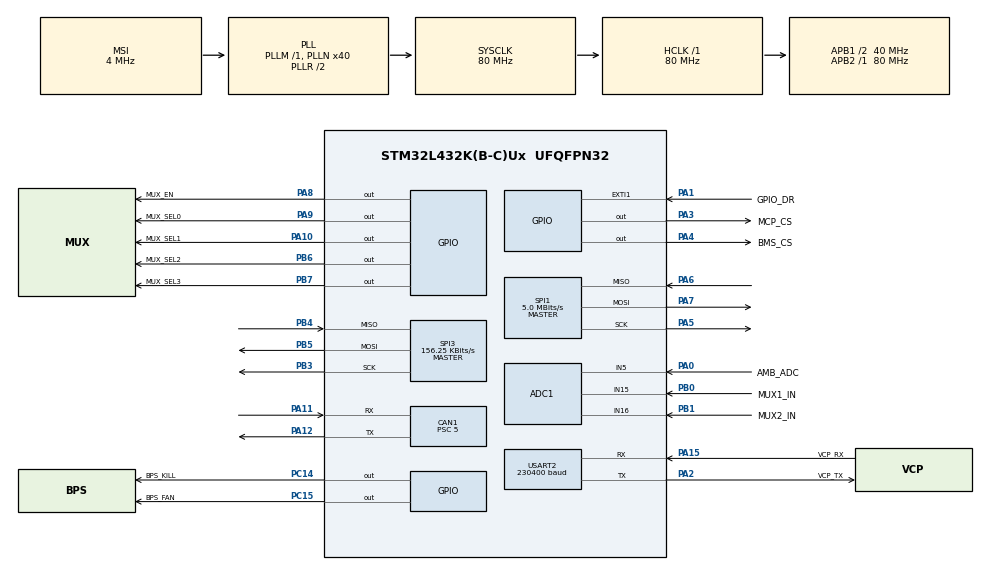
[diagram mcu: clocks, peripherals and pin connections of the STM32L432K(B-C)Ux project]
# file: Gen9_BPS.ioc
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ADC1.AutoInjectedConv=DISABLE
ADC1.Channel-0\#ChannelRegularConversion=ADC_CHANNEL_5
ADC1.InjectedDiscontinuousConvMode=DISABLE
ADC1.NbrOfConversionFlag=1
ADC1.OffsetNumber-0\#ChannelRegularConversion=ADC_OFFSET_NONE
ADC1.Rank-0\#ChannelRegularConversion=1
ADC1.SamplingTime-0\#ChannelRegularConversion=ADC_SAMPLETIME_2CYCLES_5
ADC1.SingleDiff-0\#ChannelRegularConversion=ADC_SINGLE_ENDED
ADC1.master=1
CAN1.ABOM=ENABLE
CAN1.AWUM=ENABLE
CAN1.BS1=CAN_BS1_12TQ
CAN1.BS2=CAN_BS2_3TQ
CAN1.CalculateTimeBit=2000
CAN1.CalculateTimeQuantum=125.0
CAN1.Prescaler=5
CAN1.SJW=CAN_SJW_3TQ
CRC.CRCLength=CRC_POLYLENGTH_16B
CRC.DefaultInitValueUse=DEFAULT_INIT_VALUE_DISABLE
CRC.DefaultPolynomialUse=DEFAULT_POLYNOMIAL_DISABLE
CRC.GeneratingPolynomial=X15+X14+X10+X8+X7+X4+X3+X0
CRC.InitValue=16
Dma.ADC1.6.Direction=DMA_PERIPH_TO_MEMORY
Dma.ADC1.6.Instance=DMA1_Channel1
Dma.ADC1.6.MemDataAlignment=DMA_MDATAALIGN_HALFWORD
Dma.ADC1.6.MemInc=DMA_MINC_ENABLE
Dma.ADC1.6.Mode=DMA_NORMAL
Dma.ADC1.6.PeriphDataAlignment=DMA_PDATAALIGN_HALFWORD
Dma.ADC1.6.PeriphInc=DMA_PINC_DISABLE
Dma.ADC1.6.Priority=DMA_PRIORITY_LOW
Dma.Request0=USART2_RX
Dma.Request1=USART2_TX
Dma.Request2=SPI3_TX
Dma.Request3=SPI3_RX
Dma.Request4=SPI1_RX
Dma.Request5=SPI1_TX
Dma.Request6=ADC1
Dma.SPI1_RX.4.Direction=DMA_PERIPH_TO_MEMORY
Dma.SPI1_RX.4.Instance=DMA2_Channel3
Dma.SPI1_RX.4.MemDataAlignment=DMA_MDATAALIGN_BYTE
Dma.SPI1_RX.4.MemInc=DMA_MINC_ENABLE
Dma.SPI1_RX.4.Mode=DMA_NORMAL
Dma.SPI1_RX.4.PeriphDataAlignment=DMA_PDATAALIGN_BYTE
Dma.SPI1_RX.4.PeriphInc=DMA_PINC_DISABLE
Dma.SPI1_RX.4.Priority=DMA_PRIORITY_HIGH
Dma.SPI1_TX.5.Direction=DMA_MEMORY_TO_PERIPH
Dma.SPI1_TX.5.Instance=DMA2_Channel4
Dma.SPI1_TX.5.MemDataAlignment=DMA_MDATAALIGN_BYTE
Dma.SPI1_TX.5.MemInc=DMA_MINC_ENABLE
Dma.SPI1_TX.5.Mode=DMA_NORMAL
Dma.SPI1_TX.5.PeriphDataAlignment=DMA_PDATAALIGN_BYTE
Dma.SPI1_TX.5.PeriphInc=DMA_PINC_DISABLE
Dma.SPI1_TX.5.Priority=DMA_PRIORITY_MEDIUM
Dma.SPI3_RX.3.Direction=DMA_PERIPH_TO_MEMORY
Dma.SPI3_RX.3.Instance=DMA2_Channel1
Dma.SPI3_RX.3.MemDataAlignment=DMA_MDATAALIGN_BYTE
Dma.SPI3_RX.3.MemInc=DMA_MINC_ENABLE
Dma.SPI3_RX.3.Mode=DMA_NORMAL
Dma.SPI3_RX.3.PeriphDataAlignment=DMA_PDATAALIGN_BYTE
Dma.SPI3_RX.3.PeriphInc=DMA_PINC_DISABLE
Dma.SPI3_RX.3.Priority=DMA_PRIORITY_VERY_HIGH
Dma.SPI3_TX.2.Direction=DMA_MEMORY_TO_PERIPH
Dma.SPI3_TX.2.Instance=DMA2_Channel2
Dma.SPI3_TX.2.MemDataAlignment=DMA_MDATAALIGN_BYTE
Dma.SPI3_TX.2.MemInc=DMA_MINC_ENABLE
Dma.SPI3_TX.2.Mode=DMA_NORMAL
Dma.SPI3_TX.2.PeriphDataAlignment=DMA_PDATAALIGN_BYTE
Dma.SPI3_TX.2.PeriphInc=DMA_PINC_DISABLE
Dma.SPI3_TX.2.Priority=DMA_PRIORITY_HIGH
Dma.USART2_RX.0.Direction=DMA_PERIPH_TO_MEMORY
Dma.USART2_RX.0.Instance=DMA1_Channel6
Dma.USART2_RX.0.MemDataAlignment=DMA_MDATAALIGN_BYTE
Dma.USART2_RX.0.MemInc=DMA_MINC_ENABLE
Dma.USART2_RX.0.Mode=DMA_CIRCULAR
Dma.USART2_RX.0.PeriphDataAlignment=DMA_PDATAALIGN_BYTE
Dma.USART2_RX.0.PeriphInc=DMA_PINC_DISABLE
Dma.USART2_RX.0.Priority=DMA_PRIORITY_HIGH
Dma.USART2_TX.1.Direction=DMA_MEMORY_TO_PERIPH
Dma.USART2_TX.1.Instance=DMA1_Channel7
Dma.USART2_TX.1.MemDataAlignment=DMA_MDATAALIGN_BYTE
Dma.USART2_TX.1.MemInc=DMA_MINC_ENABLE
Dma.USART2_TX.1.Mode=DMA_NORMAL
Dma.USART2_TX.1.PeriphDataAlignment=DMA_PDATAALIGN_BYTE
Dma.USART2_TX.1.PeriphInc=DMA_PINC_DISABLE
Dma.USART2_TX.1.Priority=DMA_PRIORITY_MEDIUM
FREERTOS.BinarySemaphores01=mcp3909_DR;mcp3909_RX;bmsTRxComplete
FREERTOS.INCLUDE_eTaskGetState=1
FREERTOS.INCLUDE_vTaskDelayUntil=1
FREERTOS.INCLUDE_xQueueGetMutexHolder=1
FREERTOS.INCLUDE_xSemaphoreGetMutexHolder=1
FREERTOS.INCLUDE_xTaskGetCurrentTaskHandle=1
FREERTOS.Mutexes01=swMtx
FREERTOS.Queues01=mainCanTxQ,32,Can_frame_t,NULL;mainCanRxQ,16,Can_frame_t,NULL
FREERTOS.Tasks01=Application,0,512,doApplication,Default;Can_Processor,-1,512,doProcessCan,Default;RT,2,512,doRT,Default;SMT,1,512,doSMT,Default;TMT,1,512,doTMT,Default
FREERTOS.Timers01=WWDGTmr,TmrKickDog,osTimerPeriodic,Default;HBTmr,TmrSendHB,osTimerPeriodic,Default
FREERTOS.configCHECK_FOR_STACK_OVERFLOW=2
FREERTOS.configENABLE_BACKWARD_COMPATIBILITY=0
FREERTOS.configMAX_PRIORITIES=6
FREERTOS.configMINIMAL_STACK_SIZE=512
FREERTOS.configTIMER_QUEUE_LENGTH=8
FREERTOS.configTIMER_TASK_PRIORITY=5
FREERTOS.configTIMER_TASK_STACK_DEPTH=512
FREERTOS.configTOTAL_HEAP_SIZE=32786
FREERTOS.configUSE_MALLOC_FAILED_HOOK=1
FREERTOS.configUSE_PORT_OPTIMISED_TASK_SELECTION=1
FREERTOS.configUSE_TASK_NOTIFICATIONS=0
FREERTOS.configUSE_TIMERS=1
FREERTOS.configUSE_TRACE_FACILITY=0
Mcu.Family=STM32L4
Mcu.Name=STM32L432K(B-C)Ux
Mcu.Package=UFQFPN32
NVIC.ADC1_IRQn=true\:5\:0\:false\:false\:true\:true
NVIC.CAN1_RX0_IRQn=true\:5\:0\:true\:false\:true\:true
NVIC.CAN1_RX1_IRQn=true\:5\:0\:true\:false\:true\:true
NVIC.CAN1_SCE_IRQn=true\:5\:0\:true\:false\:true\:true
NVIC.CAN1_TX_IRQn=true\:5\:0\:true\:false\:true\:true
NVIC.DMA1_Channel1_IRQn=true\:5\:0\:false\:false\:true\:true
NVIC.DMA1_Channel6_IRQn=true\:6\:0\:true\:false\:true\:true
NVIC.DMA1_Channel7_IRQn=true\:6\:0\:true\:false\:true\:true
NVIC.DMA2_Channel1_IRQn=true\:5\:0\:false\:false\:true\:true
NVIC.DMA2_Channel2_IRQn=true\:5\:0\:false\:false\:true\:true
NVIC.DMA2_Channel3_IRQn=true\:6\:0\:true\:false\:true\:true
NVIC.DMA2_Channel4_IRQn=true\:6\:0\:true\:false\:true\:true
NVIC.PriorityGroup=NVIC_PRIORITYGROUP_4
NVIC.SPI1_IRQn=true\:6\:0\:true\:false\:true\:true
NVIC.SPI3_IRQn=true\:5\:0\:true\:false\:true\:true
NVIC.TIM6_DAC_IRQn=true\:0\:0\:false\:false\:true\:false
NVIC.TimeBase=TIM6_DAC_IRQn
NVIC.TimeBaseIP=TIM6
NVIC.USART2_IRQn=true\:5\:0\:false\:false\:true\:true
PA0-CK_IN.GPIO_Label=AMB_ADC
PA0-CK_IN.Signal=ADCx_IN5
PA1.GPIO_Label=GPIO_DR
PA1.GPIO_ModeDefaultEXTI=GPIO_MODE_IT_FALLING
PA1.Signal=GPXTI1
PA10.GPIO_Label=MUX_SEL1
PA10.Signal=GPIO_Output
PA11.Mode=Master
PA11.Signal=CAN1_RX
PA12.Mode=Master
PA12.Signal=CAN1_TX
PA13\ (JTMS-SWDIO).Mode=Serial_Wire
PA13\ (JTMS-SWDIO).Signal=SYS_JTMS-SWDIO
PA14\ (JTCK-SWCLK).Mode=Serial_Wire
PA14\ (JTCK-SWCLK).Signal=SYS_JTCK-SWCLK
PA15\ (JTDI).GPIO_Label=VCP_RX
PA15\ (JTDI).Mode=Asynchronous
PA15\ (JTDI).Signal=USART2_RX
PA2.GPIO_Label=VCP_TX
PA2.Mode=Asynchronous
PA2.Signal=USART2_TX
PA3.GPIO_Label=MCP_CS
PA3.GPIO_ModeDefaultOutputPP=GPIO_MODE_OUTPUT_PP
PA3.GPIO_PuPd=GPIO_PULLUP
PA3.GPIO_Speed=GPIO_SPEED_FREQ_VERY_HIGH
PA3.PinState=GPIO_PIN_SET
PA3.Signal=GPIO_Output
PA4.GPIO_Label=BMS_CS
PA4.GPIO_ModeDefaultOutputPP=GPIO_MODE_OUTPUT_PP
PA4.GPIO_PuPd=GPIO_PULLUP
PA4.GPIO_Speed=GPIO_SPEED_FREQ_VERY_HIGH
PA4.PinState=GPIO_PIN_SET
PA4.Signal=GPIO_Output
PA5.GPIO_PuPd=GPIO_NOPULL
PA5.Mode=Full_Duplex_Master
PA5.Signal=SPI1_SCK
PA6.GPIO_PuPd=GPIO_PULLUP
PA6.Mode=Full_Duplex_Master
PA6.Signal=SPI1_MISO
PA7.GPIO_PuPd=GPIO_PULLUP
PA7.Mode=Full_Duplex_Master
PA7.Signal=SPI1_MOSI
PA8.GPIO_Label=MUX_EN
PA8.GPIO_ModeDefaultOutputPP=GPIO_MODE_OUTPUT_OD
PA8.GPIO_PuPd=GPIO_PULLUP
PA8.GPIO_Speed=GPIO_SPEED_FREQ_LOW
PA8.PinState=GPIO_PIN_SET
PA8.Signal=GPIO_Output
PA9.GPIO_Label=MUX_SEL0
PA9.Signal=GPIO_Output
PB0.GPIO_Label=MUX1_IN
PB0.Signal=ADCx_IN15
PB1.GPIO_Label=MUX2_IN
PB1.Signal=ADCx_IN16
PB3\ (JTDO-TRACESWO).Mode=Full_Duplex_Master
PB3\ (JTDO-TRACESWO).Signal=SPI3_SCK
PB4\ (NJTRST).Mode=Full_Duplex_Master
PB4\ (NJTRST).Signal=SPI3_MISO
PB5.Mode=Full_Duplex_Master
PB5.Signal=SPI3_MOSI
PB6.GPIO_Label=MUX_SEL2
PB6.Signal=GPIO_Output
PB7.GPIO_Label=MUX_SEL3
PB7.Signal=GPIO_Output
PC14-OSC32_IN\ (PC14).GPIO_Label=BPS_KILL
PC14-OSC32_IN\ (PC14).Signal=GPIO_Output
PC15-OSC32_OUT\ (PC15).GPIO_Label=BPS_FAN
PC15-OSC32_OUT\ (PC15).Signal=GPIO_Output
ProjectManager.HeapSize=0x200
ProjectManager.StackSize=0x400
ProjectManager.TargetToolchain=SW4STM32
RCC.ADCCLockSelection=RCC_ADCCLKSOURCE_SYSCLK
RCC.ADCFreq_Value=80000000
RCC.AHBFreq_Value=80000000
RCC.APB1CLKDivider=RCC_HCLK_DIV2
RCC.APB1Freq_Value=40000000
RCC.APB1TimFreq_Value=80000000
RCC.APB2Freq_Value=80000000
RCC.APB2TimFreq_Value=80000000
RCC.ClockTypeHCLK=RCC_CLOCKTYPE_HCLK
RCC.ClockTypePCLK1=RCC_CLOCKTYPE_PCLK1
RCC.ClockTypePCLK2=RCC_CLOCKTYPE_PCLK2
RCC.ClockTypeSysClk=RCC_CLOCKTYPE_SYSCLK
RCC.CortexFreq_Value=80000000
RCC.EnableCSSLSE=false
RCC.EnbaleCSS=false
RCC.HCLKFreq_Value=80000000
RCC.HSE_VALUE=8000000
RCC.HSI16_VALUE=16000000
RCC.HSI48_VALUE=48000000
RCC.HSI_VALUE=16000000
RCC.LSE_VALUE=32768
RCC.MSI_VALUE=4000000
RCC.PLLMUL=RCC_PLLMUL_4
RCC.PLLN=40
RCC.PLLSAI1N=40
RCC.PREFETCH_ENABLE=1
RCC.SYSCLKFreq_VALUE=80000000
RCC.SYSCLKSource=RCC_SYSCLKSOURCE_PLLCLK
RCC.USBFreq_Value=80000000
RCC.VCOOutputFreq_Value=160000000
SH.ADCx_IN15.0=ADC1_IN15,IN15-Single-Ended
SH.ADCx_IN16.0=ADC1_IN16,IN16-Single-Ended
SH.ADCx_IN5.0=ADC1_IN5,IN5-Single-Ended
SPI1.BaudRatePrescaler=SPI_BAUDRATEPRESCALER_16
SPI1.CLKPolarity=SPI_POLARITY_LOW
SPI1.CRCLength=SPI_CRC_LENGTH_DATASIZE
SPI1.CRCPolynomial=7
SPI1.CalculateBaudRate=5.0 MBits/s
SPI1.DataSize=SPI_DATASIZE_8BIT
SPI1.Direction=SPI_DIRECTION_2LINES
SPI1.Mode=SPI_MODE_MASTER
SPI1.NSSPMode=SPI_NSS_PULSE_DISABLE
SPI1.VirtualType=VM_MASTER
SPI3.BaudRatePrescaler=SPI_BAUDRATEPRESCALER_256
SPI3.CLKPhase=SPI_PHASE_2EDGE
SPI3.CLKPolarity=SPI_POLARITY_HIGH
SPI3.CRCLength=SPI_CRC_LENGTH_DATASIZE
SPI3.CRCPolynomial=7
SPI3.CalculateBaudRate=156.25 KBits/s
SPI3.DataSize=SPI_DATASIZE_8BIT
SPI3.Direction=SPI_DIRECTION_2LINES
SPI3.Mode=SPI_MODE_MASTER
SPI3.NSSPMode=SPI_NSS_PULSE_DISABLE
SPI3.VirtualType=VM_MASTER
USART2.BaudRate=230400
USART2.HwFlowCtl-Asynchronous=UART_HWCONTROL_NONE
USART2.VirtualMode-Asynchronous=VM_ASYNC
USART2.WordLength=UART_WORDLENGTH_8B
VP_CRC_VS_CRC.Mode=CRC_Activate
VP_FREERTOS_VS_ENABLE.Mode=Enabled
VP_SYS_VS_tim6.Mode=TIM6
VP_WWDG_VS_WWDG.Mode=WWDG_Activate
WWDG.Counter=127
WWDG.Prescaler=WWDG_PRESCALER_8
WWDG.Window=127
board=NUCLEO-L432KC

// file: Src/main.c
/**
  ******************************************************************************
  * File Name          : main.c
  * Description        : Main program body
  ******************************************************************************
  *
  * Copyright (c) 2017 STMicroelectronics International N.V.
  * All rights reserved.
  *
  * Redistribution and use in source and binary forms, with or without
  * modification, are permitted, provided that the following conditions are met:
  *
  * 1. Redistribution of source code must retain the above copyright notice,
  *    this list of conditions and the following disclaimer.
  * 2. Redistributions in binary form must reproduce the above copyright notice,
  *    this list of conditions and the following disclaimer in the documentation
  *    and/or other materials provided with the distribution.
  * 3. Neither the name of STMicroelectronics nor the names of other
  *    contributors to this software may be used to endorse or promote products
  *    derived from this software without specific written permission.
  * 4. This software, including modifications and/or derivative works of this
  *    software, must execute solely and exclusively on microcontroller or
  *    microprocessor devices manufactured by or for STMicroelectronics.
  * 5. Redistribution and use of this software other than as permitted under
  *    this license is void and will automatically terminate your rights under
  *    this license.
  *
  * THIS SOFTWARE IS PROVIDED BY STMICROELECTRONICS AND CONTRIBUTORS "AS IS"
  * AND ANY EXPRESS, IMPLIED OR STATUTORY WARRANTIES, INCLUDING, BUT NOT
  * LIMITED TO, THE IMPLIED WARRANTIES OF MERCHANTABILITY, FITNESS FOR A
  * PARTICULAR PURPOSE AND NON-INFRINGEMENT OF THIRD PARTY INTELLECTUAL PROPERTY
  * RIGHTS ARE DISCLAIMED TO THE FULLEST EXTENT PERMITTED BY LAW. IN NO EVENT
  * SHALL STMICROELECTRONICS OR CONTRIBUTORS BE LIABLE FOR ANY DIRECT, INDIRECT,
  * INCIDENTAL, SPECIAL, EXEMPLARY, OR CONSEQUENTIAL DAMAGES (INCLUDING, BUT NOT
  * LIMITED TO, PROCUREMENT OF SUBSTITUTE GOODS OR SERVICES; LOSS OF USE, DATA,
  * OR PROFITS; OR BUSINESS INTERRUPTION) HOWEVER CAUSED AND ON ANY THEORY OF
  * LIABILITY, WHETHER IN CONTRACT, STRICT LIABILITY, OR TORT (INCLUDING
  * NEGLIGENCE OR OTHERWISE) ARISING IN ANY WAY OUT OF THE USE OF THIS SOFTWARE,
  * EVEN IF ADVISED OF THE POSSIBILITY OF SUCH DAMAGE.
  *
  ******************************************************************************
  */
#include "main.h"
#include "stm32l4xx_hal.h"
#include "cmsis_os.h"

/* USER CODE BEGIN Includes */
#include "can.h"
#include "serial.h"
#include "nodeMiscHelpers.h"
#include "nodeConf.h"
#include "../../CAN_ID.h"

// RTOS Task functions + helpers
#include "Can_Processor.h"

//LTC6804
#include "LTC68041.h"

//MCP3909
#include "mcp3909.h"

/* USER CODE END Includes */

ADC_HandleTypeDef hadc1;

CAN_HandleTypeDef hcan1;

CRC_HandleTypeDef hcrc;

SPI_HandleTypeDef hspi1;
SPI_HandleTypeDef hspi3;
DMA_HandleTypeDef hdma_spi1_rx;
DMA_HandleTypeDef hdma_spi1_tx;
DMA_HandleTypeDef hdma_spi3_tx;
DMA_HandleTypeDef hdma_spi3_rx;

UART_HandleTypeDef huart2;
DMA_HandleTypeDef hdma_usart2_rx;
DMA_HandleTypeDef hdma_usart2_tx;

WWDG_HandleTypeDef hwwdg;

osThreadId ApplicationHandle;
osThreadId Can_ProcessorHandle;
osThreadId RTHandle;
osThreadId SMTHandle;
osThreadId TMTHandle;
osMessageQId mainCanTxQHandle;
osMessageQId mainCanRxQHandle;
osTimerId WWDGTmrHandle;
osTimerId HBTmrHandle;
osMutexId swMtxHandle;
osSemaphoreId mcp3909_DRHandle;
osSemaphoreId mcp3909_RXHandle;
osSemaphoreId bmsTRxCompleteHandle;

/* USER CODE BEGIN PV */
/* Private variables ---------------------------------------------------------*/
bmsChainHandleTypeDef hbms1;

MCP3909HandleTypeDef hmcp1;
uint8_t mcpRxBuf[REG_LEN * REGS_NUM];
uint8_t mcpTxBuf[REG_LEN * REGS_NUM + CTRL_LEN];

// SW_Sentinel will fail the CC firmware check and result in node addition failure!
const uint32_t firmwareString = 0x00000001;			// Firmware Version string
const uint8_t selfNodeID = bps_nodeID;					// The nodeID of this node
uint32_t selfStatusWord = INIT;							// Initialize
#define NODE_CONFIGURED

#ifndef NODE_CONFIGURED
#error "NODE NOT CONFIGURED. GO CONFIGURE IT IN NODECONF.H!"
#endif
/* USER CODE END PV */

void SystemClock_Config(void);
void Error_Handler(void);
static void MX_GPIO_Init(void);
static void MX_DMA_Init(void);
static void MX_CAN1_Init(void);
static void MX_USART2_UART_Init(void);
static void MX_WWDG_Init(void);
static void MX_CRC_Init(void);
static void MX_SPI1_Init(void);
static void MX_SPI3_Init(void);
static void MX_ADC1_Init(void);
void doApplication(void const * argument);
void doProcessCan(void const * argument);
void doRT(void const * argument);
void doSMT(void const * argument);
void doTMT(void const * argument);
void TmrKickDog(void const * argument);
void TmrSendHB(void const * argument);

/* USER CODE BEGIN PFP */
/* Private function prototypes -----------------------------------------------*/

// Data Ready pin triggered callback (PA1)
void HAL_GPIO_EXTI_Callback(uint16_t pinNum){
	if(pinNum == GPIO_DR_Pin){
		HAL_NVIC_DisableIRQ(EXTI1_IRQn);
		mcp3909_readAllChannels(&hmcp1,hmcp1.pRxBuf);
	}
}

void HAL_SPI_TxRxCpltCallback(SPI_HandleTypeDef *hspi){
	// Check which SPI issued interrupt
	if(hspi == (hbms1.hspi)){
		HAL_GPIO_WritePin(BMS_CS_GPIO_Port,BMS_CS_Pin, GPIO_PIN_SET);
		xSemaphoreGiveFromISR(bmsTRxCompleteHandle, NULL);
	}else if(hspi == (hmcp1.hspi)){
		HAL_GPIO_WritePin(MCP_CS_GPIO_Port,MCP_CS_Pin, GPIO_PIN_SET);
		xSemaphoreGiveFromISR(mcp3909_RXHandle, NULL);
	}
}

void HAL_SPI_TxCpltCallback(SPI_HandleTypeDef *hspi){
	// Check which SPI issued interrupt
	if(hspi == (hbms1.hspi)){
		HAL_GPIO_WritePin(BMS_CS_GPIO_Port,BMS_CS_Pin, GPIO_PIN_SET);
	}else if(hspi == (hmcp1.hspi)){
		HAL_GPIO_WritePin(MCP_CS_GPIO_Port,MCP_CS_Pin, GPIO_PIN_SET);
	}
}

void EM_Init(){
	hmcp1.phase[0] = 0;
	hmcp1.phase[1] = 0;
	hmcp1.phase[2] = 0;

	for(uint8_t i= 0; i < MAX_CHANNEL_NUM; i++){
		hmcp1.channel[i].PGA = PGA_1;
		hmcp1.channel[i].boost = BOOST_OFF;
		hmcp1.channel[i].dither = DITHER_ON;
		hmcp1.channel[i].reset = RESET_OFF;
		hmcp1.channel[i].shutdown = SHUTDOWN_OFF;
		hmcp1.channel[i].resolution = RES_16;
	}

	hmcp1.extCLK = 0;
	hmcp1.extVREF = 0;
	hmcp1.hspi = &hspi1;
	hmcp1.osr = OSR_32;
	hmcp1.prescale = PRESCALE_1;
	hmcp1.readType = READ_TYPE;

	hmcp1.pRxBuf = mcpRxBuf;
	hmcp1.pTxBuf = mcpTxBuf;

	HAL_NVIC_SetPriority(EXTI1_IRQn, 6, 0); // set DR pin interrupt priority
	mcp3909_init(&hmcp1);
}
/* USER CODE END PFP */

int main(void)
{

  /* USER CODE BEGIN 1 */
//#define DISABLE_RT
#define DISABLE_SMT
#define DISABLE_TMT
  /* USER CODE END 1 */

  /* MCU Configuration----------------------------------------------------------*/

  /* Reset of all peripherals, Initializes the Flash interface and the Systick. */
  HAL_Init();

  /* Configure the system clock */
  SystemClock_Config();

  /* Initialize all configured peripherals */
  MX_GPIO_Init();
  MX_DMA_Init();
  MX_CAN1_Init();
  MX_USART2_UART_Init();
  MX_WWDG_Init();
  MX_CRC_Init();
  MX_SPI1_Init();
  MX_SPI3_Init();
  MX_ADC1_Init();

  /* USER CODE BEGIN 2 */
  Serial2_begin();
  static uint8_t hbmsg[] = "Booting... \n";
  Serial2_writeBuf(hbmsg);

  ////*IF YOU GET HCAN1 NOT DEFINED ERROR, CHECK NODECONF.H FIRST!*////
  bxCan_begin(&hcan1, &mainCanRxQHandle, &mainCanTxQHandle);
  // TODO: Set node-specific CAN filters
  bxCan_addMaskedFilterStd(0,0,0); // Filter: Status word group (ignore nodeID)
  bxCan_addMaskedFilterExt(0,0,0);

#ifndef DISABLE_SMT
  /*
   * LTC68041 SETUP
   */
//  Set up the global ADC configs for the LTC6804
//  ltc68041ChainInitStruct bmsInitParams[TOTAL_IC];
//  LTC68041_Initialize(&hbms1, bmsInitParams);
  hbms1.hspi = &hspi3;
  if(ltc68041_Initialize(&hbms1) != 0){
	  for(;;);
  }
  HAL_WWDG_Refresh(&hwwdg);
#endif

#ifndef DISABLE_RT
  EM_Init();
  HAL_WWDG_Refresh(&hwwdg);
#endif
  /* USER CODE END 2 */

  /* Create the mutex(es) */
  /* definition and creation of swMtx */
  osMutexDef(swMtx);
  swMtxHandle = osMutexCreate(osMutex(swMtx));

  /* Create the semaphores(s) */
  /* definition and creation of mcp3909_DR */
  osSemaphoreDef(mcp3909_DR);
  mcp3909_DRHandle = osSemaphoreCreate(osSemaphore(mcp3909_DR), 1);

  /* definition and creation of mcp3909_RX */
  osSemaphoreDef(mcp3909_RX);
  mcp3909_RXHandle = osSemaphoreCreate(osSemaphore(mcp3909_RX), 1);

  /* definition and creation of bmsTRxComplete */
  osSemaphoreDef(bmsTRxComplete);
  bmsTRxCompleteHandle = osSemaphoreCreate(osSemaphore(bmsTRxComplete), 1);

  /* Create the timer(s) */
  /* definition and creation of WWDGTmr */
  osTimerDef(WWDGTmr, TmrKickDog);
  WWDGTmrHandle = osTimerCreate(osTimer(WWDGTmr), osTimerPeriodic, NULL);

  /* definition and creation of HBTmr */
  osTimerDef(HBTmr, TmrSendHB);
  HBTmrHandle = osTimerCreate(osTimer(HBTmr), osTimerPeriodic, NULL);

  /* USER CODE BEGIN RTOS_TIMERS */
  /* start timers, add new ones, ... */
  osTimerStart(WWDGTmrHandle, WD_Interval);
  osTimerStart(HBTmrHandle, HB_Interval);
  /* USER CODE END RTOS_TIMERS */

  /* Create the thread(s) */
  /* definition and creation of Application */
  osThreadDef(Application, doApplication, osPriorityNormal, 0, 512);
  ApplicationHandle = osThreadCreate(osThread(Application), NULL);

  /* definition and creation of Can_Processor */
  osThreadDef(Can_Processor, doProcessCan, osPriorityBelowNormal, 0, 512);
  Can_ProcessorHandle = osThreadCreate(osThread(Can_Processor), NULL);

  /* definition and creation of RT */
  osThreadDef(RT, doRT, osPriorityHigh, 0, 512);
  RTHandle = osThreadCreate(osThread(RT), NULL);

  /* definition and creation of SMT */
  osThreadDef(SMT, doSMT, osPriorityAboveNormal, 0, 512);
  SMTHandle = osThreadCreate(osThread(SMT), NULL);

  /* definition and creation of TMT */
  osThreadDef(TMT, doTMT, osPriorityAboveNormal, 0, 512);
  TMTHandle = osThreadCreate(osThread(TMT), NULL);

  /* Create the queue(s) */
  /* definition and creation of mainCanTxQ */
  osMessageQDef(mainCanTxQ, 32, Can_frame_t);
  mainCanTxQHandle = osMessageCreate(osMessageQ(mainCanTxQ), NULL);

  /* definition and creation of mainCanRxQ */
  osMessageQDef(mainCanRxQ, 16, Can_frame_t);
  mainCanRxQHandle = osMessageCreate(osMessageQ(mainCanRxQ), NULL);

  /* Start scheduler */
  osKernelStart();

  /* We should never get here as control is now taken by the scheduler */

  /* Infinite loop */
  while (1)
  {

  }

}

/** System Clock Configuration
*/
void SystemClock_Config(void)
{

  RCC_OscInitTypeDef RCC_OscInitStruct;
  RCC_ClkInitTypeDef RCC_ClkInitStruct;
  RCC_PeriphCLKInitTypeDef PeriphClkInit;

    /**Initializes the CPU, AHB and APB busses clocks
    */
  RCC_OscInitStruct.OscillatorType = RCC_OSCILLATORTYPE_MSI;
  RCC_OscInitStruct.MSIState = RCC_MSI_ON;
  RCC_OscInitStruct.MSICalibrationValue = 0;
  RCC_OscInitStruct.MSIClockRange = RCC_MSIRANGE_6;
  RCC_OscInitStruct.PLL.PLLState = RCC_PLL_ON;
  RCC_OscInitStruct.PLL.PLLSource = RCC_PLLSOURCE_MSI;
  RCC_OscInitStruct.PLL.PLLM = 1;
  RCC_OscInitStruct.PLL.PLLN = 40;
  RCC_OscInitStruct.PLL.PLLP = RCC_PLLP_DIV7;
  RCC_OscInitStruct.PLL.PLLQ = RCC_PLLQ_DIV2;
  RCC_OscInitStruct.PLL.PLLR = RCC_PLLR_DIV2;
  if (HAL_RCC_OscConfig(&RCC_OscInitStruct) != HAL_OK)
  {
    Error_Handler();
  }

    /**Initializes the CPU, AHB and APB busses clocks
    */
  RCC_ClkInitStruct.ClockType = RCC_CLOCKTYPE_HCLK|RCC_CLOCKTYPE_SYSCLK
                              |RCC_CLOCKTYPE_PCLK1|RCC_CLOCKTYPE_PCLK2;
  RCC_ClkInitStruct.SYSCLKSource = RCC_SYSCLKSOURCE_PLLCLK;
  RCC_ClkInitStruct.AHBCLKDivider = RCC_SYSCLK_DIV1;
  RCC_ClkInitStruct.APB1CLKDivider = RCC_HCLK_DIV2;
  RCC_ClkInitStruct.APB2CLKDivider = RCC_HCLK_DIV1;

  if (HAL_RCC_ClockConfig(&RCC_ClkInitStruct, FLASH_LATENCY_4) != HAL_OK)
  {
    Error_Handler();
  }

  PeriphClkInit.PeriphClockSelection = RCC_PERIPHCLK_USART2|RCC_PERIPHCLK_ADC;
  PeriphClkInit.Usart2ClockSelection = RCC_USART2CLKSOURCE_PCLK1;
  PeriphClkInit.AdcClockSelection = RCC_ADCCLKSOURCE_SYSCLK;
  if (HAL_RCCEx_PeriphCLKConfig(&PeriphClkInit) != HAL_OK)
  {
    Error_Handler();
  }

    /**Configure the main internal regulator output voltage
    */
  if (HAL_PWREx_ControlVoltageScaling(PWR_REGULATOR_VOLTAGE_SCALE1) != HAL_OK)
  {
    Error_Handler();
  }

    /**Configure the Systick interrupt time
    */
  HAL_SYSTICK_Config(HAL_RCC_GetHCLKFreq()/1000);

    /**Configure the Systick
    */
  HAL_SYSTICK_CLKSourceConfig(SYSTICK_CLKSOURCE_HCLK);

  /* SysTick_IRQn interrupt configuration */
  HAL_NVIC_SetPriority(SysTick_IRQn, 15, 0);
}

/* ADC1 init function */
static void MX_ADC1_Init(void)
{

  ADC_ChannelConfTypeDef sConfig;

    /**Common config
    */
  hadc1.Instance = ADC1;
  hadc1.Init.ClockPrescaler = ADC_CLOCK_ASYNC_DIV1;
  hadc1.Init.Resolution = ADC_RESOLUTION_12B;
  hadc1.Init.DataAlign = ADC_DATAALIGN_RIGHT;
  hadc1.Init.ScanConvMode = ADC_SCAN_DISABLE;
  hadc1.Init.EOCSelection = ADC_EOC_SINGLE_CONV;
  hadc1.Init.LowPowerAutoWait = DISABLE;
  hadc1.Init.ContinuousConvMode = DISABLE;
  hadc1.Init.NbrOfConversion = 1;
  hadc1.Init.DiscontinuousConvMode = DISABLE;
  hadc1.Init.NbrOfDiscConversion = 1;
  hadc1.Init.ExternalTrigConv = ADC_SOFTWARE_START;
  hadc1.Init.ExternalTrigConvEdge = ADC_EXTERNALTRIGCONVEDGE_NONE;
  hadc1.Init.DMAContinuousRequests = DISABLE;
  hadc1.Init.Overrun = ADC_OVR_DATA_PRESERVED;
  hadc1.Init.OversamplingMode = DISABLE;
  if (HAL_ADC_Init(&hadc1) != HAL_OK)
  {
    Error_Handler();
  }

    /**Configure Regular Channel
    */
  sConfig.Channel = ADC_CHANNEL_5;
  sConfig.Rank = 1;
  sConfig.SamplingTime = ADC_SAMPLETIME_2CYCLES_5;
  sConfig.SingleDiff = ADC_SINGLE_ENDED;
  sConfig.OffsetNumber = ADC_OFFSET_NONE;
  sConfig.Offset = 0;
  if (HAL_ADC_ConfigChannel(&hadc1, &sConfig) != HAL_OK)
  {
    Error_Handler();
  }

}

/* CAN1 init function */
static void MX_CAN1_Init(void)
{

  hcan1.Instance = CAN1;
  hcan1.Init.Prescaler = 5;
  hcan1.Init.Mode = CAN_MODE_NORMAL;
  hcan1.Init.SJW = CAN_SJW_3TQ;
  hcan1.Init.BS1 = CAN_BS1_12TQ;
  hcan1.Init.BS2 = CAN_BS2_3TQ;
  hcan1.Init.TTCM = DISABLE;
  hcan1.Init.ABOM = ENABLE;
  hcan1.Init.AWUM = ENABLE;
  hcan1.Init.NART = DISABLE;
  hcan1.Init.RFLM = DISABLE;
  hcan1.Init.TXFP = DISABLE;
  if (HAL_CAN_Init(&hcan1) != HAL_OK)
  {
    Error_Handler();
  }

}

/* CRC init function */
static void MX_CRC_Init(void)
{

  hcrc.Instance = CRC;
  hcrc.Init.DefaultPolynomialUse = DEFAULT_POLYNOMIAL_DISABLE;
  hcrc.Init.DefaultInitValueUse = DEFAULT_INIT_VALUE_DISABLE;
  hcrc.Init.GeneratingPolynomial = 50585;
  hcrc.Init.CRCLength = CRC_POLYLENGTH_16B;
  hcrc.Init.InitValue = 16;
  hcrc.Init.InputDataInversionMode = CRC_INPUTDATA_INVERSION_NONE;
  hcrc.Init.OutputDataInversionMode = CRC_OUTPUTDATA_INVERSION_DISABLE;
  hcrc.InputDataFormat = CRC_INPUTDATA_FORMAT_BYTES;
  if (HAL_CRC_Init(&hcrc) != HAL_OK)
  {
    Error_Handler();
  }

}

/* SPI1 init function */
static void MX_SPI1_Init(void)
{

  hspi1.Instance = SPI1;
  hspi1.Init.Mode = SPI_MODE_MASTER;
  hspi1.Init.Direction = SPI_DIRECTION_2LINES;
  hspi1.Init.DataSize = SPI_DATASIZE_8BIT;
  hspi1.Init.CLKPolarity = SPI_POLARITY_LOW;
  hspi1.Init.CLKPhase = SPI_PHASE_1EDGE;
  hspi1.Init.NSS = SPI_NSS_SOFT;
  hspi1.Init.BaudRatePrescaler = SPI_BAUDRATEPRESCALER_16;
  hspi1.Init.FirstBit = SPI_FIRSTBIT_MSB;
  hspi1.Init.TIMode = SPI_TIMODE_DISABLE;
  hspi1.Init.CRCCalculation = SPI_CRCCALCULATION_DISABLE;
  hspi1.Init.CRCPolynomial = 7;
  hspi1.Init.CRCLength = SPI_CRC_LENGTH_DATASIZE;
  hspi1.Init.NSSPMode = SPI_NSS_PULSE_DISABLE;
  if (HAL_SPI_Init(&hspi1) != HAL_OK)
  {
    Error_Handler();
  }

}

/* SPI3 init function */
static void MX_SPI3_Init(void)
{

  hspi3.Instance = SPI3;
  hspi3.Init.Mode = SPI_MODE_MASTER;
  hspi3.Init.Direction = SPI_DIRECTION_2LINES;
  hspi3.Init.DataSize = SPI_DATASIZE_8BIT;
  hspi3.Init.CLKPolarity = SPI_POLARITY_HIGH;
  hspi3.Init.CLKPhase = SPI_PHASE_2EDGE;
  hspi3.Init.NSS = SPI_NSS_SOFT;
  hspi3.Init.BaudRatePrescaler = SPI_BAUDRATEPRESCALER_256;
  hspi3.Init.FirstBit = SPI_FIRSTBIT_MSB;
  hspi3.Init.TIMode = SPI_TIMODE_DISABLE;
  hspi3.Init.CRCCalculation = SPI_CRCCALCULATION_DISABLE;
  hspi3.Init.CRCPolynomial = 7;
  hspi3.Init.CRCLength = SPI_CRC_LENGTH_DATASIZE;
  hspi3.Init.NSSPMode = SPI_NSS_PULSE_DISABLE;
  if (HAL_SPI_Init(&hspi3) != HAL_OK)
  {
    Error_Handler();
  }

}

/* USART2 init function */
static void MX_USART2_UART_Init(void)
{

  huart2.Instance = USART2;
  huart2.Init.BaudRate = 230400;
  huart2.Init.WordLength = UART_WORDLENGTH_8B;
  huart2.Init.StopBits = UART_STOPBITS_1;
  huart2.Init.Parity = UART_PARITY_NONE;
  huart2.Init.Mode = UART_MODE_TX_RX;
  huart2.Init.HwFlowCtl = UART_HWCONTROL_NONE;
  huart2.Init.OverSampling = UART_OVERSAMPLING_16;
  huart2.Init.OneBitSampling = UART_ONE_BIT_SAMPLE_DISABLE;
  huart2.AdvancedInit.AdvFeatureInit = UART_ADVFEATURE_NO_INIT;
  if (HAL_UART_Init(&huart2) != HAL_OK)
  {
    Error_Handler();
  }

}

/* WWDG init function */
static void MX_WWDG_Init(void)
{

  hwwdg.Instance = WWDG;
  hwwdg.Init.Prescaler = WWDG_PRESCALER_8;
  hwwdg.Init.Window = 127;
  hwwdg.Init.Counter = 127;
  hwwdg.Init.EWIMode = WWDG_EWI_DISABLE;
  if (HAL_WWDG_Init(&hwwdg) != HAL_OK)
  {
    Error_Handler();
  }

}

static void MX_DMA_Init(void)
{
  /* DMA controller clock enable */
  LL_AHB1_GRP1_EnableClock(LL_AHB1_GRP1_PERIPH_DMA1);
  LL_AHB1_GRP1_EnableClock(LL_AHB1_GRP1_PERIPH_DMA2);

  /* DMA interrupt init */
  /* DMA1_Channel6_IRQn interrupt configuration */
  HAL_NVIC_SetPriority(DMA1_Channel6_IRQn, 6, 0);
  HAL_NVIC_EnableIRQ(DMA1_Channel6_IRQn);
  /* DMA1_Channel7_IRQn interrupt configuration */
  HAL_NVIC_SetPriority(DMA1_Channel7_IRQn, 6, 0);
  HAL_NVIC_EnableIRQ(DMA1_Channel7_IRQn);
  /* DMA2_Channel1_IRQn interrupt configuration */
  HAL_NVIC_SetPriority(DMA2_Channel1_IRQn, 5, 0);
  HAL_NVIC_EnableIRQ(DMA2_Channel1_IRQn);
  /* DMA2_Channel2_IRQn interrupt configuration */
  HAL_NVIC_SetPriority(DMA2_Channel2_IRQn, 5, 0);
  HAL_NVIC_EnableIRQ(DMA2_Channel2_IRQn);
  /* DMA2_Channel3_IRQn interrupt configuration */
  HAL_NVIC_SetPriority(DMA2_Channel3_IRQn, 6, 0);
  HAL_NVIC_EnableIRQ(DMA2_Channel3_IRQn);
  /* DMA2_Channel4_IRQn interrupt configuration */
  HAL_NVIC_SetPriority(DMA2_Channel4_IRQn, 6, 0);
  HAL_NVIC_EnableIRQ(DMA2_Channel4_IRQn);

}

/** Configure pins as
        * Analog
        * Input
        * Output
        * EVENT_OUT
        * EXTI
*/
static void MX_GPIO_Init(void)
{

  GPIO_InitTypeDef GPIO_InitStruct;

  /* GPIO Ports Clock Enable */
  __HAL_RCC_GPIOC_CLK_ENABLE();
  __HAL_RCC_GPIOA_CLK_ENABLE();
  __HAL_RCC_GPIOB_CLK_ENABLE();

  /*Configure GPIO pin Output Level */
  HAL_GPIO_WritePin(GPIOC, BPS_KILL_Pin|BPS_FAN_Pin, GPIO_PIN_RESET);

  /*Configure GPIO pin Output Level */
  HAL_GPIO_WritePin(GPIOA, MCP_CS_Pin|BMS_CS_Pin|MUX_EN_Pin, GPIO_PIN_SET);

  /*Configure GPIO pin Output Level */
  HAL_GPIO_WritePin(GPIOA, MUX_SEL0_Pin|MUX_SEL1_Pin, GPIO_PIN_RESET);

  /*Configure GPIO pin Output Level */
  HAL_GPIO_WritePin(GPIOB, MUX_SEL2_Pin|MUX_SEL3_Pin, GPIO_PIN_RESET);

  /*Configure GPIO pins : BPS_KILL_Pin BPS_FAN_Pin */
  GPIO_InitStruct.Pin = BPS_KILL_Pin|BPS_FAN_Pin;
  GPIO_InitStruct.Mode = GPIO_MODE_OUTPUT_PP;
  GPIO_InitStruct.Pull = GPIO_NOPULL;
  GPIO_InitStruct.Speed = GPIO_SPEED_FREQ_LOW;
  HAL_GPIO_Init(GPIOC, &GPIO_InitStruct);

  /*Configure GPIO pin : GPIO_DR_Pin */
  GPIO_InitStruct.Pin = GPIO_DR_Pin;
  GPIO_InitStruct.Mode = GPIO_MODE_IT_FALLING;
  GPIO_InitStruct.Pull = GPIO_NOPULL;
  HAL_GPIO_Init(GPIO_DR_GPIO_Port, &GPIO_InitStruct);

  /*Configure GPIO pins : MCP_CS_Pin BMS_CS_Pin */
  GPIO_InitStruct.Pin = MCP_CS_Pin|BMS_CS_Pin;
  GPIO_InitStruct.Mode = GPIO_MODE_OUTPUT_PP;
  GPIO_InitStruct.Pull = GPIO_PULLUP;
  GPIO_InitStruct.Speed = GPIO_SPEED_FREQ_VERY_HIGH;
  HAL_GPIO_Init(GPIOA, &GPIO_InitStruct);

  /*Configure GPIO pin : MUX_EN_Pin */
  GPIO_InitStruct.Pin = MUX_EN_Pin;
  GPIO_InitStruct.Mode = GPIO_MODE_OUTPUT_OD;
  GPIO_InitStruct.Pull = GPIO_PULLUP;
  GPIO_InitStruct.Speed = GPIO_SPEED_FREQ_LOW;
  HAL_GPIO_Init(MUX_EN_GPIO_Port, &GPIO_InitStruct);

  /*Configure GPIO pins : MUX_SEL0_Pin MUX_SEL1_Pin */
  GPIO_InitStruct.Pin = MUX_SEL0_Pin|MUX_SEL1_Pin;
  GPIO_InitStruct.Mode = GPIO_MODE_OUTPUT_PP;
  GPIO_InitStruct.Pull = GPIO_NOPULL;
  GPIO_InitStruct.Speed = GPIO_SPEED_FREQ_LOW;
  HAL_GPIO_Init(GPIOA, &GPIO_InitStruct);

  /*Configure GPIO pins : MUX_SEL2_Pin MUX_SEL3_Pin */
  GPIO_InitStruct.Pin = MUX_SEL2_Pin|MUX_SEL3_Pin;
  GPIO_InitStruct.Mode = GPIO_MODE_OUTPUT_PP;
  GPIO_InitStruct.Pull = GPIO_NOPULL;
  GPIO_InitStruct.Speed = GPIO_SPEED_FREQ_LOW;
  HAL_GPIO_Init(GPIOB, &GPIO_InitStruct);

}

/* doApplication function */
void doApplication(void const * argument)
{

  for(;;)
  {
    osDelay(1);
  }
}

/* doProcessCan function */
void doProcessCan(void const * argument)
{
  /* USER CODE BEGIN doProcessCan */
  /* Infinite loop */
	for(;;){
		// Wrapper function for the CAN Processing Logic
		// Handles all CAN Protocol Suite based responses and tasks
		Can_Processor();
	}
  /* USER CODE END doProcessCan */
}

/* doRT function */
void doRT(void const * argument)
{
  /* USER CODE BEGIN doRT */
#ifndef DISABLE_RT

	static Can_frame_t newFrame;
	newFrame.isExt = 0;
	newFrame.isRemote = 0;
	newFrame.id = 0x201;

	static uint8_t ohno[] = "oh no!\n";

  /* Infinite loop */
  for(;;)
  {
	  if((selfStatusWord & 0x07) == ACTIVE){
		mcp3909_wakeup(&hmcp1);
		osDelay(1);
		xSemaphoreTake(mcp3909_RXHandle, portMAX_DELAY);
		mcp3909_parseChannelData(&hmcp1);
		osDelay(1);
		// XXX: Energy metering algorithm
		mcp3909_sleep(&hmcp1);

		Serial2_writeBuf(ohno);

//		for(uint8_t i=0; i<3; i++){
//			for(uint8_t j=0; j<12; j+=4){
//				newFrame.id = voltOffset+i*3+j/4;
//				newFrame.Data[0] = hbms1.board[i].CVR[j+0] >> 8;
//				newFrame.Data[1] = hbms1.board[i].CVR[j+0] & 0xff;
//				newFrame.Data[2] = hbms1.board[i].CVR[j+1] >> 8;
//				newFrame.Data[3] = hbms1.board[i].CVR[j+1] & 0xff;
//				newFrame.Data[4] = hbms1.board[i].CVR[j+2] >> 8;
//				newFrame.Data[5] = hbms1.board[i].CVR[j+2] & 0xff;
//				newFrame.Data[6] = hbms1.board[i].CVR[j+3] >> 8;
//				newFrame.Data[7] = hbms1.board[i].CVR[j+3] & 0xff;
//				if(bxCan_sendFrame(&newFrame) != 0){
//					Serial2_writeBuf(ohno);
//				}
////				static uint8_t msg[3];
////				msg[0] = hbms1.board[i].CVR[j+0] >> 8;
////				msg[1] = hbms1.board[i].CVR[j+0] & 0xff;
////				Serial2_writeBuf(msg);
//				for(uint8_t k=0; k<4; k++){
//					if(hbms1.board[i].CVR[j+k] > vovTo100uV(VOV) || hbms1.board[i].CVR[j+k] < vovTo100uV(VUV)){
//						Serial2_writeBuf(ohno);
//						assert_bps_fault(i*3+j/4, hbms1.board[i].CVR[j+k]);
//					}
//				}
//			}
//			osDelay(1);
//		}

		osDelay(RT_Interval);
	  }else{
		  osDelay(1);
	  }
  }
#else
  for(;;){
	  osDelay(1000);
  }
#endif
  /* USER CODE END doRT */
}

/* doSMT function */
void doSMT(void const * argument)
{
  /* USER CODE BEGIN doSMT */
#ifndef DISABLE_SMT

	static Can_frame_t newFrame;
	newFrame.dlc = 8;
	newFrame.isExt = 0;
	newFrame.isRemote = 0;

  /* Infinite loop */
  for(;;)
  {
	  if((selfStatusWord & 0x07) == ACTIVE){
		  int8_t success = ltc68041_clearCell(&hbms1);
		  osDelay(3);
		  success = ltc68041_startCVConv(&hbms1);

		  // Delay enough time but also make sure that the chip doesn't go into sleep mode
		for(uint8_t i = 0; i < 3 * TOTAL_IC; i++){
			osDelay(3);
			wakeup_sleep();
		}

		// Read the register groups
		success = ltc68041_readRegGroup(&hbms1, RDCVA);
		osDelay(2);
		ltc68041_parseCV(&hbms1, A);

		success = ltc68041_readRegGroup(&hbms1, RDCVB);
		osDelay(2);
		ltc68041_parseCV(&hbms1, B);

		success = ltc68041_readRegGroup(&hbms1, RDCVC);
		osDelay(2);
		ltc68041_parseCV(&hbms1, C);

		success = ltc68041_readRegGroup(&hbms1, RDCVD);
		osDelay(2);
		ltc68041_parseCV(&hbms1, D);

//		success = ltc68041_readRegGroup(&hbms1, RDSTATB);
//		osDelay(2);
//		ltc68041_parseSTAT(&hbms1, B);

#define vovTo100uV(x) ((x+1)*16)

		static uint8_t ohno[] = "oh no!\n";

		for(uint8_t i=0; i<3; i++){
			for(uint8_t j=0; j<12; j+=4){
				newFrame.id = voltOffset+i*3+j/4;
				newFrame.Data[0] = hbms1.board[i].CVR[j+0] >> 8;
				newFrame.Data[1] = hbms1.board[i].CVR[j+0] & 0xff;
				newFrame.Data[2] = hbms1.board[i].CVR[j+1] >> 8;
				newFrame.Data[3] = hbms1.board[i].CVR[j+1] & 0xff;
				newFrame.Data[4] = hbms1.board[i].CVR[j+2] >> 8;
				newFrame.Data[5] = hbms1.board[i].CVR[j+2] & 0xff;
				newFrame.Data[6] = hbms1.board[i].CVR[j+3] >> 8;
				newFrame.Data[7] = hbms1.board[i].CVR[j+3] & 0xff;
				if(bxCan_sendFrame(&newFrame) != 0){
					Serial2_writeBuf(ohno);
				}
//				static uint8_t msg[3];
//				msg[0] = hbms1.board[i].CVR[j+0] >> 8;
//				msg[1] = hbms1.board[i].CVR[j+0] & 0xff;
//				Serial2_writeBuf(msg);
				for(uint8_t k=0; k<4; k++){
					if(hbms1.board[i].CVR[j+k] > vovTo100uV(VOV) || hbms1.board[i].CVR[j+k] < vovTo100uV(VUV)){
						Serial2_writeBuf(ohno);
						assert_bps_fault(i*3+j/4, hbms1.board[i].CVR[j+k]);
					}
				}
			}
			osDelay(1);
		}

		//Check OV UV flags
//		for(int i=0; i<3; i++){
//			if(hbms1.board[i].STATR[5] || (hbms1.board[i].STATR[6] & 0xff)){
//				assert_bps_fault(i,0);
//			}
//		}

		osDelay(SMT_Interval - (8+TOTAL_IC*4));
	  }else{
		  osDelay(1);
	  }
  }
#else
  for(;;){
	  osDelay(1000);
  }
#endif
  /* USER CODE END doSMT */
}

/* doTMT function */
void doTMT(void const * argument)
{
  /* USER CODE BEGIN doTMT */
#ifndef DISABLE_TMT
  /* Infinite loop */
  for(;;)
  {
	  if((selfStatusWord & 0x07) == ACTIVE){
	  //Michael Pls
		  osDelay(TMT_Interval);
	  }else{
		  osDelay(1);
	  }
  }

#else
  for(;;){
	  osDelay(1000);
  }
#endif
  /* USER CODE END doTMT */
}

/* TmrKickDog function */
void TmrKickDog(void const * argument)
{
  /* USER CODE BEGIN TmrKickDog */
	// CHECKED
	taskENTER_CRITICAL();
	HAL_WWDG_Refresh(&hwwdg);
	taskEXIT_CRITICAL();
  /* USER CODE END TmrKickDog */
}

/* TmrSendHB function */
void TmrSendHB(void const * argument)
{
  /* USER CODE BEGIN TmrSendHB */
	// CHECKED
	static Can_frame_t newFrame;
	newFrame.isExt = 0;
	newFrame.isRemote = 0;

	if(getSelfState() == ACTIVE){
		// Assemble new heartbeat frame
		newFrame.id = selfNodeID + swOffset;
		newFrame.dlc = CAN_HB_DLC;

		#ifdef DEBUG
			static uint8_t hbmsg[] = "Heartbeat issued\n";
			Serial2_writeBytes(hbmsg, sizeof(hbmsg)-1);
		#endif
	}
	else if (getSelfState() == INIT){
		// Assemble new addition request (firmware version) frame
		newFrame.id = selfNodeID + fwOffset;
		newFrame.dlc = CAN_FW_DLC;

		#ifdef DEBUG
			static uint8_t hbmsg[] = "Init handshake issued\n";
			Serial2_writeBytes(hbmsg, sizeof(hbmsg)-1);
		#endif
	}
	bxCan_sendFrame(&newFrame);
	// No heartbeats sent in other states
  /* USER CODE END TmrSendHB */
}

void HAL_TIM_PeriodElapsedCallback(TIM_HandleTypeDef *htim)
{
  if (htim->Instance == TIM6) {
    HAL_IncTick();
  }
}

void Error_Handler(void)
{
  while(1)
  {
  }
}

/************************ (C) COPYRIGHT STMicroelectronics *****END OF FILE****/
